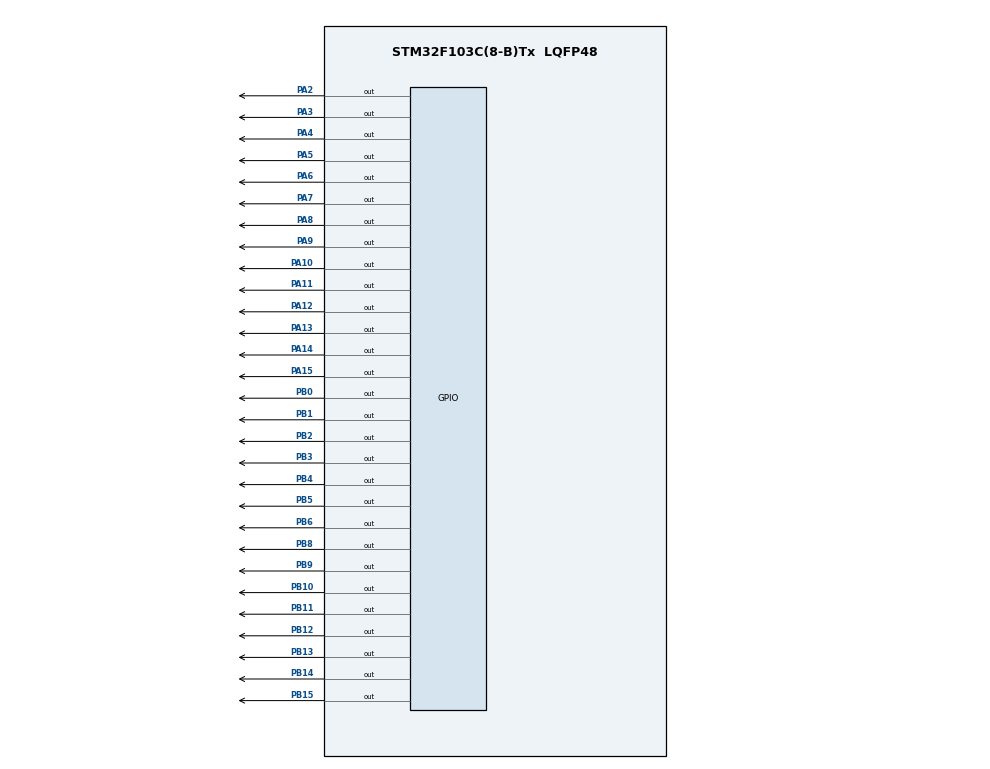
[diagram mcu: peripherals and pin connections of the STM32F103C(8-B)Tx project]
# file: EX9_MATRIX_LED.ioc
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Mcu.Family=STM32F1
Mcu.Name=STM32F103C(8-B)Tx
Mcu.Package=LQFP48
NVIC.PriorityGroup=NVIC_PRIORITYGROUP_4
NVIC.TIM2_IRQn=true\:0\:0\:false\:false\:true\:true\:true\:true
PA10.Signal=GPIO_Output
PA11.Signal=GPIO_Output
PA12.Signal=GPIO_Output
PA13.Signal=GPIO_Output
PA14.Signal=GPIO_Output
PA15.Signal=GPIO_Output
PA2.Signal=GPIO_Output
PA3.Signal=GPIO_Output
PA4.Signal=GPIO_Output
PA5.Signal=GPIO_Output
PA6.Signal=GPIO_Output
PA7.Signal=GPIO_Output
PA8.Signal=GPIO_Output
PA9.Signal=GPIO_Output
PB0.Signal=GPIO_Output
PB1.Signal=GPIO_Output
PB10.Signal=GPIO_Output
PB11.Signal=GPIO_Output
PB12.Signal=GPIO_Output
PB13.Signal=GPIO_Output
PB14.Signal=GPIO_Output
PB15.Signal=GPIO_Output
PB2.Signal=GPIO_Output
PB3.Signal=GPIO_Output
PB4.Signal=GPIO_Output
PB5.Signal=GPIO_Output
PB6.Signal=GPIO_Output
PB8.Signal=GPIO_Output
PB9.Signal=GPIO_Output
ProjectManager.HeapSize=0x200
ProjectManager.StackSize=0x400
ProjectManager.TargetToolchain=MDK-ARM V5.32
RCC.APB1Freq_Value=8000000
RCC.APB2Freq_Value=8000000
TIM2.Period=9
TIM2.Prescaler=7999
VP_SYS_VS_ND.Mode=No_Debug
VP_TIM2_VS_ClockSourceINT.Mode=Internal
board=custom

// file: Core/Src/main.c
#include "main.h"

/* USER CODE BEGIN PD */

#define LED_A GPIO_PIN_0
#define LED_B GPIO_PIN_1
#define LED_C GPIO_PIN_2
#define LED_D GPIO_PIN_3
#define LED_E GPIO_PIN_4
#define LED_F GPIO_PIN_5
#define LED_G GPIO_PIN_6

#define ALL_LEDS (LED_A | LED_B | LED_C | LED_D | \
                  LED_E | LED_F | LED_G)

#define EN0_PIN GPIO_PIN_6
#define EN1_PIN GPIO_PIN_7
#define EN2_PIN GPIO_PIN_8
#define EN3_PIN GPIO_PIN_9

#define ALL_EN (EN0_PIN | EN1_PIN | EN2_PIN | EN3_PIN)

#define DOT_PIN     GPIO_PIN_4
#define RED_LED_PIN GPIO_PIN_5

#define ENM0_PIN GPIO_PIN_2
#define ENM1_PIN GPIO_PIN_3
#define ENM2_PIN GPIO_PIN_10
#define ENM3_PIN GPIO_PIN_11
#define ENM4_PIN GPIO_PIN_12
#define ENM5_PIN GPIO_PIN_13
#define ENM6_PIN GPIO_PIN_14
#define ENM7_PIN GPIO_PIN_15

#define ALL_ENM (ENM0_PIN | ENM1_PIN | ENM2_PIN | ENM3_PIN | \
                 ENM4_PIN | ENM5_PIN | ENM6_PIN | ENM7_PIN)

#define ALL_ROWS (GPIO_PIN_8 | GPIO_PIN_9 | GPIO_PIN_10 | \
                  GPIO_PIN_11 | GPIO_PIN_12 | GPIO_PIN_13 | \
                  GPIO_PIN_14 | GPIO_PIN_15)

#define TIMER_CYCLE 10

/* USER CODE END PD */

/* Private variables */
TIM_HandleTypeDef htim2;

/* USER CODE BEGIN PV */

const int MAX_LED = 4;
int index_led = 0;
int led_buffer[4] = {0, 0, 0, 0};

int hour = 15;
int minute = 8;
int second = 50;

const int MAX_LED_MATRIX = 8;
int index_led_matrix = 0;

/*
 * Du lieu chu A theo tung cot.
 * Bit 0 ung voi ROW0, bit 7 ung voi ROW7.
 * Bit bang 1 la diem can sang.
 */
uint8_t matrix_buffer[8] =
{
    0x00, 0x7E, 0x09, 0x09,
    0x09, 0x7E, 0x00, 0x00
};

int timer0_counter = 0;
int timer1_counter = 0;
int timer2_counter = 0;

int timer0_flag = 0;
int timer1_flag = 0;
int timer2_flag = 0;

/* USER CODE END PV */

/* Private function prototypes */
void SystemClock_Config(void);
static void MX_GPIO_Init(void);
static void MX_TIM2_Init(void);

/* USER CODE BEGIN 0 */

void display7SEG(int num)
{
    static const uint16_t digit[10] =
    {
        LED_A | LED_B | LED_C | LED_D | LED_E | LED_F,
        LED_B | LED_C,
        LED_A | LED_B | LED_D | LED_E | LED_G,
        LED_A | LED_B | LED_C | LED_D | LED_G,
        LED_B | LED_C | LED_F | LED_G,
        LED_A | LED_C | LED_D | LED_F | LED_G,
        LED_A | LED_C | LED_D | LED_E | LED_F | LED_G,
        LED_A | LED_B | LED_C,
        LED_A | LED_B | LED_C | LED_D | LED_E | LED_F | LED_G,
        LED_A | LED_B | LED_C | LED_D | LED_F | LED_G
    };

    /* Common anode: HIGH tat, LOW sang */
    HAL_GPIO_WritePin(GPIOB, ALL_LEDS, GPIO_PIN_SET);

    if (num >= 0 && num <= 9)
    {
        HAL_GPIO_WritePin(GPIOB, digit[num], GPIO_PIN_RESET);
    }
}

void update7SEG(int index)
{
    /* Tat ca 4 LED truoc khi doi du lieu */
    HAL_GPIO_WritePin(GPIOA, ALL_EN, GPIO_PIN_SET);

    if (index < 0 || index >= MAX_LED)
    {
        return;
    }

    display7SEG(led_buffer[index]);

    switch (index)
    {
        case 0:
            HAL_GPIO_WritePin(GPIOA, EN0_PIN, GPIO_PIN_RESET);
            break;

        case 1:
            HAL_GPIO_WritePin(GPIOA, EN1_PIN, GPIO_PIN_RESET);
            break;

        case 2:
            HAL_GPIO_WritePin(GPIOA, EN2_PIN, GPIO_PIN_RESET);
            break;

        case 3:
            HAL_GPIO_WritePin(GPIOA, EN3_PIN, GPIO_PIN_RESET);
            break;

        default:
            break;
    }
}

void updateClockBuffer(void)
{
    led_buffer[0] = hour / 10;
    led_buffer[1] = hour % 10;
    led_buffer[2] = minute / 10;
    led_buffer[3] = minute % 10;
}

void updateClock(void)
{
    second++;

    if (second >= 60)
    {
        second = 0;
        minute++;

        if (minute >= 60)
        {
            minute = 0;
            hour++;

            if (hour >= 24)
            {
                hour = 0;
            }
        }
    }

    updateClockBuffer();
}

void setRow(int col)
{
    uint16_t row_data;

    row_data = (uint16_t)((uint16_t)matrix_buffer[col] << 8);

    /* ROW HIGH: tat diem LED */
    HAL_GPIO_WritePin(GPIOB, ALL_ROWS, GPIO_PIN_SET);

    /* ROW LOW: bat cac diem co bit 1 */
    if (row_data != 0)
    {
        HAL_GPIO_WritePin(GPIOB, row_data, GPIO_PIN_RESET);
    }
}

void updateLEDMatrix(int index)
{
    /*
     * Theo so do Proteus:
     * ENM HIGH: ULN keo cot xuong LOW, tat cot.
     * ENM LOW: cot duoc keo len HIGH, chon cot.
     */

    /* Tat tat ca cac cot */
    HAL_GPIO_WritePin(GPIOA, ALL_ENM, GPIO_PIN_SET);

    if (index < 0 || index >= MAX_LED_MATRIX)
    {
        return;
    }

    setRow(index);

    switch (index)
    {
        case 0:
            HAL_GPIO_WritePin(GPIOA, ENM0_PIN, GPIO_PIN_RESET);
            break;

        case 1:
            HAL_GPIO_WritePin(GPIOA, ENM1_PIN, GPIO_PIN_RESET);
            break;

        case 2:
            HAL_GPIO_WritePin(GPIOA, ENM2_PIN, GPIO_PIN_RESET);
            break;

        case 3:
            HAL_GPIO_WritePin(GPIOA, ENM3_PIN, GPIO_PIN_RESET);
            break;

        case 4:
            HAL_GPIO_WritePin(GPIOA, ENM4_PIN, GPIO_PIN_RESET);
            break;

        case 5:
            HAL_GPIO_WritePin(GPIOA, ENM5_PIN, GPIO_PIN_RESET);
            break;

        case 6:
            HAL_GPIO_WritePin(GPIOA, ENM6_PIN, GPIO_PIN_RESET);
            break;

        case 7:
            HAL_GPIO_WritePin(GPIOA, ENM7_PIN, GPIO_PIN_RESET);
            break;

        default:
            break;
    }
}

void setTimer0(int duration)
{
    timer0_counter = duration / TIMER_CYCLE;
    timer0_flag = 0;
}

void setTimer1(int duration)
{
    timer1_counter = duration / TIMER_CYCLE;
    timer1_flag = 0;
}

void setTimer2(int duration)
{
    timer2_counter = duration / TIMER_CYCLE;
    timer2_flag = 0;
}

void timer_run(void)
{
    if (timer0_counter > 0)
    {
        timer0_counter--;

        if (timer0_counter == 0)
        {
            timer0_flag = 1;
        }
    }

    if (timer1_counter > 0)
    {
        timer1_counter--;

        if (timer1_counter == 0)
        {
            timer1_flag = 1;
        }
    }

    if (timer2_counter > 0)
    {
        timer2_counter--;

        if (timer2_counter == 0)
        {
            timer2_flag = 1;
        }
    }
}

/* USER CODE END 0 */

int main(void)
{
  HAL_Init();
  SystemClock_Config();

  MX_GPIO_Init();
  MX_TIM2_Init();

  /* USER CODE BEGIN 2 */

  /* Tat LED 7 doan */
  HAL_GPIO_WritePin(GPIOA, ALL_EN, GPIO_PIN_SET);
  HAL_GPIO_WritePin(GPIOB, ALL_LEDS, GPIO_PIN_SET);

  /* Tat DOT va LED do */
  HAL_GPIO_WritePin(GPIOA, DOT_PIN, GPIO_PIN_SET);
  HAL_GPIO_WritePin(GPIOA, RED_LED_PIN, GPIO_PIN_SET);

  /* Tat LED ma tran */
  HAL_GPIO_WritePin(GPIOA, ALL_ENM, GPIO_PIN_SET);
  HAL_GPIO_WritePin(GPIOB, ALL_ROWS, GPIO_PIN_SET);

  updateClockBuffer();

  update7SEG(0);
  index_led = 1;

  updateLEDMatrix(0);
  index_led_matrix = 1;

  setTimer0(1000);
  setTimer1(250);
  setTimer2(10);

  HAL_TIM_Base_Start_IT(&htim2);

  /* USER CODE END 2 */

  while (1)
  {

    /* USER CODE BEGIN 3 */

    if (timer0_flag == 1)
    {
      setTimer0(1000);

      HAL_GPIO_TogglePin(GPIOA, DOT_PIN);

      updateClock();
    }

    if (timer1_flag == 1)
    {
      setTimer1(250);

      update7SEG(index_led);

      index_led++;

      if (index_led >= MAX_LED)
      {
        index_led = 0;
      }
    }

    if (timer2_flag == 1)
    {
      setTimer2(10);

      updateLEDMatrix(index_led_matrix);

      index_led_matrix++;

      if (index_led_matrix >= MAX_LED_MATRIX)
      {
        index_led_matrix = 0;
      }
    }
  }
  /* USER CODE END 3 */
}

void SystemClock_Config(void)
{
  RCC_OscInitTypeDef RCC_OscInitStruct = {0};
  RCC_ClkInitTypeDef RCC_ClkInitStruct = {0};

  RCC_OscInitStruct.OscillatorType = RCC_OSCILLATORTYPE_HSI;
  RCC_OscInitStruct.HSIState = RCC_HSI_ON;
  RCC_OscInitStruct.HSICalibrationValue =
      RCC_HSICALIBRATION_DEFAULT;
  RCC_OscInitStruct.PLL.PLLState = RCC_PLL_NONE;

  if (HAL_RCC_OscConfig(&RCC_OscInitStruct) != HAL_OK)
  {
    Error_Handler();
  }

  RCC_ClkInitStruct.ClockType =
      RCC_CLOCKTYPE_HCLK |
      RCC_CLOCKTYPE_SYSCLK |
      RCC_CLOCKTYPE_PCLK1 |
      RCC_CLOCKTYPE_PCLK2;

  RCC_ClkInitStruct.SYSCLKSource = RCC_SYSCLKSOURCE_HSI;
  RCC_ClkInitStruct.AHBCLKDivider = RCC_SYSCLK_DIV1;
  RCC_ClkInitStruct.APB1CLKDivider = RCC_HCLK_DIV1;
  RCC_ClkInitStruct.APB2CLKDivider = RCC_HCLK_DIV1;

  if (HAL_RCC_ClockConfig(&RCC_ClkInitStruct,
                         FLASH_LATENCY_0) != HAL_OK)
  {
    Error_Handler();
  }
}

static void MX_TIM2_Init(void)
{
  TIM_ClockConfigTypeDef sClockSourceConfig = {0};
  TIM_MasterConfigTypeDef sMasterConfig = {0};

  htim2.Instance = TIM2;
  htim2.Init.Prescaler = 7999;
  htim2.Init.CounterMode = TIM_COUNTERMODE_UP;
  htim2.Init.Period = 9;
  htim2.Init.ClockDivision = TIM_CLOCKDIVISION_DIV1;
  htim2.Init.AutoReloadPreload =
      TIM_AUTORELOAD_PRELOAD_DISABLE;

  if (HAL_TIM_Base_Init(&htim2) != HAL_OK)
  {
    Error_Handler();
  }

  sClockSourceConfig.ClockSource = TIM_CLOCKSOURCE_INTERNAL;

  if (HAL_TIM_ConfigClockSource(&htim2,
                               &sClockSourceConfig) != HAL_OK)
  {
    Error_Handler();
  }

  sMasterConfig.MasterOutputTrigger = TIM_TRGO_RESET;
  sMasterConfig.MasterSlaveMode = TIM_MASTERSLAVEMODE_DISABLE;

  if (HAL_TIMEx_MasterConfigSynchronization(
          &htim2, &sMasterConfig) != HAL_OK)
  {
    Error_Handler();
  }

  /* Bat ngat TIM2 */
  HAL_NVIC_SetPriority(TIM2_IRQn, 0, 0);
  HAL_NVIC_EnableIRQ(TIM2_IRQn);
}

static void MX_GPIO_Init(void)
{
  GPIO_InitTypeDef GPIO_InitStruct = {0};

  __HAL_RCC_AFIO_CLK_ENABLE();
  __HAL_RCC_GPIOA_CLK_ENABLE();
  __HAL_RCC_GPIOB_CLK_ENABLE();

  /*
   * Tat JTAG va SWD de dung PA13, PA14, PA15, PB3, PB4
   * lam GPIO.
   */
  __HAL_AFIO_REMAP_SWJ_DISABLE();

  /* Dat muc tat truoc khi cau hinh output */
  HAL_GPIO_WritePin(
      GPIOA,
      ALL_EN | ALL_ENM | DOT_PIN | RED_LED_PIN,
      GPIO_PIN_SET);

  HAL_GPIO_WritePin(
      GPIOB,
      ALL_LEDS | ALL_ROWS,
      GPIO_PIN_SET);

  GPIO_InitStruct.Pin =
      ALL_EN | ALL_ENM | DOT_PIN | RED_LED_PIN;

  GPIO_InitStruct.Mode = GPIO_MODE_OUTPUT_PP;
  GPIO_InitStruct.Pull = GPIO_NOPULL;
  GPIO_InitStruct.Speed = GPIO_SPEED_FREQ_LOW;

  HAL_GPIO_Init(GPIOA, &GPIO_InitStruct);

  GPIO_InitStruct.Pin = ALL_LEDS | ALL_ROWS;
  GPIO_InitStruct.Mode = GPIO_MODE_OUTPUT_PP;
  GPIO_InitStruct.Pull = GPIO_NOPULL;
  GPIO_InitStruct.Speed = GPIO_SPEED_FREQ_LOW;

  HAL_GPIO_Init(GPIOB, &GPIO_InitStruct);
}

/* USER CODE BEGIN 4 */

void HAL_TIM_PeriodElapsedCallback(TIM_HandleTypeDef *htim)
{
    if (htim->Instance == TIM2)
    {
        timer_run();
    }
}

/* USER CODE END 4 */

void Error_Handler(void)
{
  while (1)
  {
  }
}
